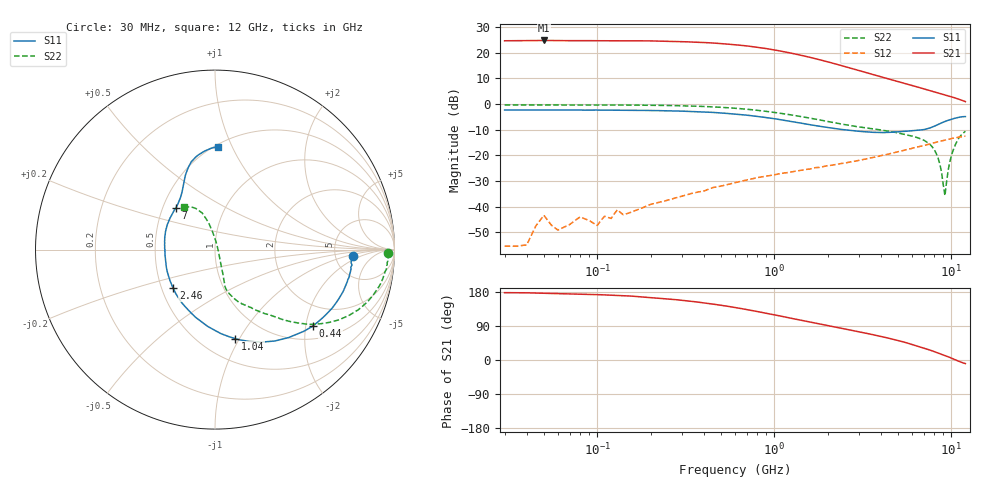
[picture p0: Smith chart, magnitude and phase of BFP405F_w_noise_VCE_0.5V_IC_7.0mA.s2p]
! Infineon Technologies  Discrete & RF Semiconductors
! BFP405F
! VCE =  0.5 V,  IC =  7.0 mA
! Common Emitter S-Parameters:  Nov 2015
# GHz  S  MA  R  50
!  f  S11  S21  S12  S22
! GHz  MAG  ANG  MAG  ANG  MAG  ANG  MAG  ANG
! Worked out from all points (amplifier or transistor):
!   239 points, 30 MHz to 12 GHz, reference 50 ohm
!   highest |S21| = 24.8 dB at 50 MHz (marker M1)
!   |S21| within 3 dB of that: start of sweep to 867.1 MHz
!   unconditionally stable (mu >= 1): 2.25 GHz to end of sweep
!   at 300 MHz: K = 0.16, MSG = 30.1 dB, |S12| = -35.9 dB
!   at 1.88 GHz: K = 0.88, MSG = 20.7 dB, |S12| = -24.4 dB
!   at 12 GHz: K = 1.43, MAG = 2.8 dB, |S12| = -12.5 dB
!   lowest NFmin = 1.45 dB at 450 MHz
!   S11 on the Smith chart (normalised r, x): 30 MHz: 7.43, -1.32; 440 MHz: 1.35, -2.20; 1.04 GHz: 0.72, -0.96; 2.46 GHz: 0.57, -0.28; 7 GHz: 0.58, +0.30; 12 GHz: 0.52, +0.88
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0.03  0.7694 -2.7  17.17 177.7  0.0017 94.7  0.9631 -1.2
0.04  0.7666 -3.6  17.25 177.3  0.0018 104.9  0.9629 -1.7
0.05  0.7622 -4.4  17.41 176.1  0.0068 138.9  0.9618 -2.3
0.06  0.7619 -5.5  17.27 175.5  0.0035 74.7  0.9663 -2.6
0.085  0.7643 -7.8  17.24 173.4  0.0058 85.8  0.9633 -4.1
0.145  0.7585 -13.2  17.2 169.5  0.0072 94.8  0.9583 -6.9
0.24  0.7427 -21.5  16.81 162.0  0.0129 75.5  0.9423 -11.6
0.32  0.7236 -28.2  16.38 156.3  0.017 78.2  0.9215 -15.2
0.44  0.6914 -37.9  15.6 148.2  0.0229 72.7  0.8863 -20.3
0.6  0.6398 -49.9  14.37 138.4  0.0294 68.9  0.831 -26.2
0.8  0.5772 -63.3  12.81 127.9  0.0368 63.9  0.7576 -32.3
1.04  0.5085 -77.2  11.11 117.6  0.043 58.8  0.676 -38.0
1.3  0.4466 -90.9  9.552 108.3  0.0488 56.7  0.6003 -42.5
1.64  0.3906 -106.4  7.949 99.0  0.0557 53.5  0.5227 -47.0
2.46  0.3174 -137.2  5.496 82.6  0.0702 51.2  0.4023 -56.4
3.3  0.2884 -160.0  4.122 70.5  0.0853 49.3  0.3424 -62.8
4.5  0.282 174.7  3.041 56.7  0.1082 46.6  0.2942 -68.4
7  0.319 133.0  1.981 31.3  0.1562 36.6  0.1977 -74.1
8.4  0.4 116.2  1.654 18.7  0.1841 29.6  0.09 -68.4
9.2  0.4587 110.3  1.509 11.8  0.1985 25.3  0.0164 21.9
10.2  0.516 103.5  1.36 3.4  0.2159 19.6  0.1218 100.7
12  0.5711 88.6  1.119 -9.5  0.2378 11.2  0.2949 125.6
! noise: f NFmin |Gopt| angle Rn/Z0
0.45  1.45  0.3  6  0.34
0.9  1.46  0.28  11  0.34
1.5  1.52  0.26  16  0.3
1.9  1.56  0.24  24  0.3
2.4  1.71  0.23  32  0.32
3  1.77  0.21  45  0.29
3.5  1.82  0.19  53  0.28
4.5  1.97  0.15  59  0.2
5.5  2.17  0.08  66  0.07
